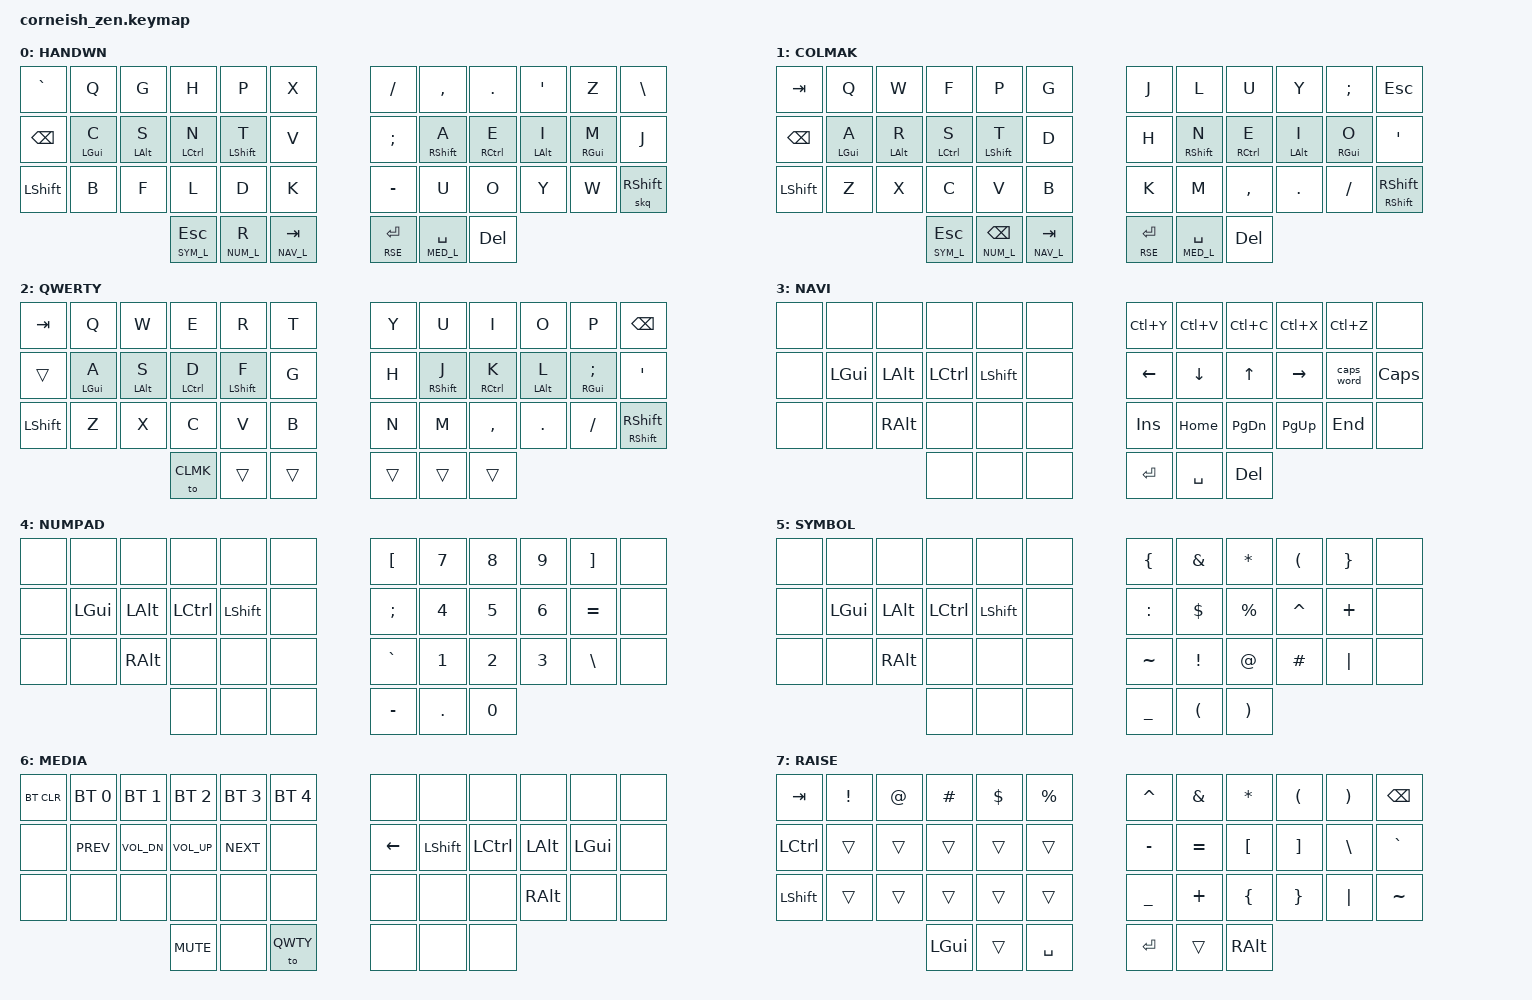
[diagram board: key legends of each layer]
/*
 * Copyright (c) 2020 The ZMK Contributors
 *
 * SPDX-License-Identifier: MIT
 */

#include <behaviors.dtsi>
#include <dt-bindings/zmk/keys.h>
#include <dt-bindings/zmk/bt.h>
#include <dt-bindings/zmk/outputs.h>

#define HDWN    0
#define CLMK    1
#define QWTY    2
#define NAV_L   3
#define NUM_L   4
#define SYM_L   5
#define MED_L   6
#define RSE     7

/ {
  chosen {
    zmk,matrix_transform = &default_transform;
    //zmk,matrix_transform = &five_column_transform;
  };
};

/ {
        behaviors {
                hm: homerow_mods {
                        compatible = "zmk,behavior-hold-tap";
                        label = "HOMEROW_MODS";
                        #binding-cells = <2>;
                        tapping-term-ms = <200>;
                        quick-tap-ms = <0>;
                        flavor = "tap-preferred";
                        bindings = <&kp>, <&kp>;
                };

                stkm: sticky_mods {
                        compatible = "zmk,behavior-hold-tap";
                        label = "STICKY_MODS";
                        #binding-cells = <2>;
                        tapping-term-ms = <200>;
                        quick-tap-ms = <0>;
                        flavor = "tap-preferred";
                        bindings = <&sk>, <&kp>;
                };

                lm: layer_mods {
                        compatible = "zmk,behavior-hold-tap";
                        label = "LAYER_MODS";
                        #binding-cells = <2>;
                        tapping-term-ms = <200>;
                        quick-tap-ms = <50>;
                        flavor = "tap-preferred";
                        bindings = <&mo>, <&kp>;
                };

                skq: sticky_key_quick_release {
                        compatible = "zmk,behavior-sticky-key";
                        #binding-cells = <1>;
                        bindings = <&kp>;
                        release-after-ms = <1000>;
                        quick-release;
                        ignore-modifiers;
                };


        };

        keymap {
                compatible = "zmk,keymap";

                default_layer {
                        label = "HANDWN";
// -----------------------------------------------------------------------------------------
// |  `   |  Q  |  G  |  H  |  P  |  X  |   |  /  |  ,   |  .  |  '  |  Z  |  \   |
// | BKSP |  C  |  S  |  N  |  T  |  V  |   |  ;  |  A   |  E  |  I  |  M  |  J   |
// | SHFT |  B  |  F  |  L  |  D  |  K  |   |  -  |  U   |  O  |  Y  |  W  | SHFT |
//                    | ESC | TAB | R   |   | SPC | RET  | DEL |
                        bindings = <
   &kp GRAVE &kp Q      &kp G      &kp H         &kp P          &kp X         &kp FSLH    &kp COMMA       &kp DOT     &kp SQT    &kp Z      &kp BSLH
   &kp BSPC  &hm LGUI C &hm LALT S &hm LCTRL N   &hm LSHFT T    &kp V         &kp SEMI    &hm RSHFT A     &hm RCTRL E &hm LALT I &hm RGUI M &kp J
   &kp LSHFT &kp B      &kp F      &kp L         &kp D          &kp K         &kp MINUS   &kp U           &kp O       &kp Y      &kp W      &skq RSHFT
                                   &lm SYM_L ESC &lm NUM_L R  &lm NAV_L TAB   &lm RSE RET &lm MED_L SPACE &kp DEL
                        >;
                };

                colemak_layer {
                        label = "COLMAK";
// -----------------------------------------------------------------------------------------
// |  TAB |  Q  |  W  |  F  |  P  |  G  |   |  J  |  L   |  U  |  Y  |  ;  | ESC  |
// | BKSP |  A  |  R  |  S  |  T  |  D  |   |  H  |  N   |  E  |  I  |  O  |  '   |
// | SHFT |  Z  |  X  |  C  |  V  |  B  |   |  K  |  M   |  ,  |  .  |  /  | SHFT |
//                    | ESC | BSPC| TAB |   | SPC | RET  | DEL |
                        bindings = <
   &kp TAB   &kp Q      &kp W      &kp F         &kp P          &kp G         &kp J       &kp L           &kp U       &kp Y      &kp SEMI   &kp ESC
   &kp BSPC  &hm LGUI A &hm LALT R &hm LCTRL S   &hm LSHFT T    &kp D         &kp H       &hm RSHFT N     &hm RCTRL E &hm LALT I &hm RGUI O &kp SQT
   &kp LSHFT &kp Z      &kp X      &kp C         &kp V          &kp B         &kp K       &kp M           &kp COMMA   &kp DOT    &kp FSLH   &stkm RSHFT RSHFT
                                   &lm SYM_L ESC &lm NUM_L BSPC &lm NAV_L TAB &lm RSE RET &lm MED_L SPACE &kp DEL
                        >;
                };

                qwerty_layer {
                        label = "QWERTY";
// -----------------------------------------------------------------------------------------
// |  TAB |  Q  |  W  |  E  |  R  |  T  |   |  Y  |  U   |  I  |  O  |  P  | BKSP  |
// | BKSP |  A  |  S  |  D  |  F  |  G  |   |  H  |  J   |  K  |  L  |  ;  |  '   |
// | SHFT |  Z  |  X  |  C  |  V  |  B  |   |  N  |  M   |  ,  |  .  |  /  | SHFT |
//                    | GUI | LWR | ENT |   | SPC | RSE  | ALT |
                        bindings = <
   &kp TAB   &kp Q      &kp W      &kp E       &kp R       &kp T        &kp Y &kp U        &kp I       &kp O      &kp P         &kp BSPC
   &trans    &hm LGUI A &hm LALT S &hm LCTRL D &hm LSHFT F &kp G        &kp H &hm RSHFT J  &hm RCTRL K &hm LALT L &hm RGUI SEMI &kp SQT
   &kp LSHFT &kp Z      &kp X      &kp C       &kp V       &kp B        &kp N &kp M        &kp COMMA   &kp DOT    &kp FSLH      &stkm RSHFT RSHFT
                                   &to CLMK    &trans      &trans       &trans             &trans      &trans
                        >;
                };

                nav_layer {
                        label = "NAVI";
// -----------------------------------------------------------------------------------------
// |      |     |     |      |      |     |   | REDO | PASTE | COPY |  CUT | UNDO |      |
// |      | GUI | ALT | CTRL | SHFT |     |   | LFT  | DWN   |  UP  | RGT  | CAP  |      |
// |      |     | ALT |      |      |     |   | INS  | HOME  | PGDN | PGUP | END  |      |
//                    |      |      |     |   | DEL  |       |      |
                        bindings = <
   &none      &none        &none        &none        &none        &none          &kp LC(Y) &kp LC(V)   &kp LC(C) &kp LC(X) &kp LC(Z)  &none
   &none      &kp LGUI     &kp LALT     &kp LCTRL    &kp LSHFT    &none          &kp LEFT  &kp DOWN    &kp UP    &kp RIGHT &caps_word &kp CAPS
   &none      &none        &kp RALT     &none        &none        &none          &kp INS   &kp HOME    &kp PG_DN &kp PG_UP &kp END    &none
                          	        &none        &none        &none          &kp RET   &kp SPACE   &kp DEL
                        >;
                };

                numpad_layer {
                        label = "NUMPAD";
// -----------------------------------------------------------------------------------------
// |      |     |     |      |      |     |   |  [  |  7  |  8  |  9  |  ]  |      |
// |      | GUI | ALT | CTRL | SHFT |     |   |  ;  |  4  |  5  |  6  |  =  |      |
// |      |     | ALT |      |      |     |   |  `  |  1  |  2  |  3  |  \  |      |
//                    |      |      |     |   |  -  |  .  |  0  |
                        bindings = <
   &none      &none        &none        &none        &none        &none          &kp LBKT  &kp N7      &kp N8 &kp N9 &kp RBKT  &none
   &none      &kp LGUI     &kp LALT     &kp LCTRL    &kp LSHFT    &none          &kp SEMI  &kp N4      &kp N5 &kp N6 &kp EQUAL &none
   &none      &none        &kp RALT     &none        &none        &none          &kp GRAVE &kp N1      &kp N2 &kp N3 &kp BSLH  &none
                          	        &none        &none        &none          &kp MINUS &kp DOT     &kp N0
                        >;
                };

                symbols_layer {
                        label = "SYMBOL";
// -----------------------------------------------------------------------------------------
// |      |     |     |      |      |     |   |  {  |  &  |  *  |  (  |  }  |      |
// |      | GUI | ALT | CTRL | SHFT |     |   |  :  |  $  |  %  |  ^  |  +  |      |
// |      |     | ALT |      |      |     |   |  ~  |  !  |  @  |  #  |  |  |      |
//                    |      |      |     |   |  _  |  (  |  )  |
                        bindings = <
   &none      &none        &none        &none        &none        &none          &kp LBRC  &kp AMPS &kp STAR  &kp LPAR  &kp RBRC  &none
   &none      &kp LGUI     &kp LALT     &kp LCTRL    &kp LSHFT    &none          &kp COLON &kp DLLR &kp PRCNT &kp CARET &kp PLUS  &none
   &none      &none        &kp RALT     &none        &none        &none          &kp TILDE &kp EXCL &kp AT    &kp HASH  &kp PIPE  &none
                          	        &none        &none        &none          &kp UNDER &kp LPAR &kp RPAR
                        >;
                };

                media_layer {
                        label = "MEDIA";
// -----------------------------------------------------------------------------------------
// | BTCLR | BT1  | BT2    | BT3    | BT4  | BT5  |   |      |      |      |     |     |      |
// |       | PREV | VOL_DN | VOL_UP | NEXT |      |   |      | SHFT | CTRL | ALT | GUI |      |
// |       | USB  |        |        |      |      |   |      |      |      | ALT |     |      |
//                         |  MUTE  |      | QWTY |   |      |      |      |
                        bindings = <
   &bt BT_CLR &bt BT_SEL 0 &bt BT_SEL 1 &bt BT_SEL 2 &bt BT_SEL 3 &bt BT_SEL 4   &none     &none       &none     &none     &none     &none
   &none      &kp K_PREV   &kp K_VOL_DN &kp K_VOL_UP &kp K_NEXT   &none          &kp LEFT  &kp LSHFT   &kp LCTRL &kp LALT  &kp LGUI  &none
   &none      &none        &none        &none        &none        &none          &none     &none       &none     &kp RALT  &none     &none
                          	        &kp K_MUTE   &none        &to QWTY       &none     &none       &none
                        >;
                };

                raise_layer {
                        label = "RAISE";
// -----------------------------------------------------------------------------------------
// |  TAB |  !  |  @  |  #  |  $  |  %  |   |  ^  |  &  |  *  |  (  |  )  | BKSP |
// | BKSP |     |     |     |     |     |   |  -  |  =  |  [  |  ]  |  \  |  `   |
// | SHFT |     |     |     |     |     |   |  _  |  +  |  {  |  }  | "|" |  ~   |
//                    | GUI |     | SPC |   | ENT |     | ALT |
                        bindings = <

   &kp  TAB  &kp EXCL &kp AT &kp HASH &kp DLLR &kp PRCNT   &kp CARET &kp AMPS  &kp STAR &kp LPAR &kp RPAR &kp BSPC
   &kp LCTRL &trans   &trans &trans   &trans   &trans      &kp MINUS &kp EQUAL &kp LBKT &kp RBKT &kp BSLH &kp GRAVE
   &kp LSHFT &trans   &trans &trans   &trans   &trans      &kp UNDER &kp PLUS  &kp LBRC &kp RBRC &kp PIPE &kp TILDE
                    	     &kp LGUI &trans   &kp SPACE   &kp RET   &trans    &kp RALT
                        >;
                };

        };
};
